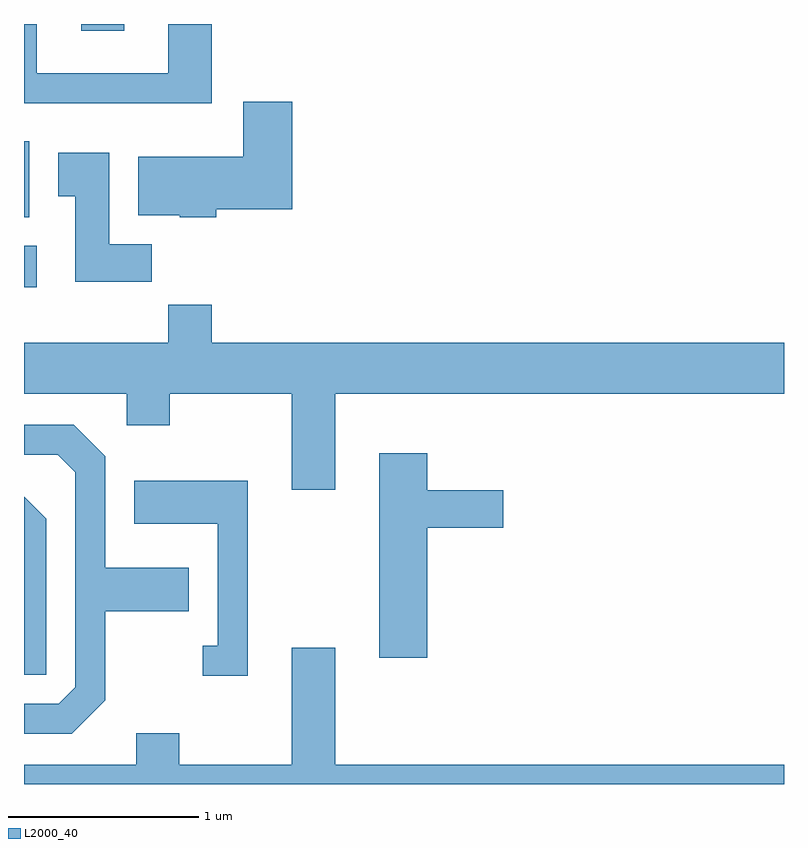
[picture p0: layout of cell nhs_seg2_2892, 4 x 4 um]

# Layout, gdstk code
import gdstk
lib = gdstk.Library(unit=1e-6, precision=1e-09)
def R(c, l, rs):  # rectangles x0, y0, x1, y1
    for r in rs: c.add(gdstk.rectangle(r[:2], r[2:], *l))
def P(c, l, *ps):  # polygons
    for p in ps: c.add(gdstk.Polygon(p, *l))
L2000_40 = (2000, 40)

nhs_seg2_2892 = lib.new_cell('nhs_seg2_2892')
R(nhs_seg2_2892, L2000_40, [(269.611,1064.416,269.679,1064.634), (269.611,1064.786,269.639,1065.184), (269.911,1065.766,270.139,1065.802)])
P(nhs_seg2_2892, L2000_40, [(270.599,1065.802),(270.371,1065.802),(270.371,1065.544),(269.679,1065.544),(269.679,1065.802),(269.611,1065.802),(269.611,1065.386),(270.599,1065.386)],
  [(270.624,1064.826),(271.024,1064.826),(271.024,1065.394),(270.766,1065.394),(270.766,1065.104),(270.211,1065.104),(270.211,1064.796),(270.43,1064.796),(270.43,1064.786),(270.624,1064.786)],
  [(270.284,1064.644),(270.059,1064.644),(270.059,1065.124),(269.791,1065.124),(269.791,1064.896),(269.881,1064.896),(269.881,1064.446),(270.284,1064.446)],
  [(271.249,1063.856),(273.611,1063.856),(273.611,1064.124),(270.599,1064.124),(270.599,1064.324),(270.371,1064.324),(270.371,1064.124),(269.611,1064.124),(269.611,1063.856),(270.151,1063.856),(270.151,1063.691),(270.379,1063.691),(270.379,1063.856),(271.021,1063.856),(271.021,1063.351),(271.249,1063.351)],
  [(270.039,1062.244),(270.039,1062.711),(270.479,1062.711),(270.479,1062.939),(270.039,1062.939),(270.039,1063.527),(269.872,1063.694),(269.611,1063.694),(269.611,1063.536),(269.789,1063.536),(269.881,1063.444),(269.881,1062.312),(269.794,1062.224),(269.611,1062.224),(269.611,1062.066),(269.862,1062.066)],
  [(271.734,1063.151),(272.134,1063.151),(272.134,1063.349),(271.734,1063.349),(271.734,1063.544),(271.481,1063.544),(271.481,1062.466),(271.734,1062.466)],
  [(270.789,1063.399),(270.191,1063.399),(270.191,1063.171),(270.631,1063.171),(270.631,1062.529),(270.553,1062.529),(270.553,1062.371),(270.789,1062.371)],
  [(269.729,1063.197),(269.611,1063.315),(269.611,1062.376),(269.729,1062.376)],
  [(273.611,1061.904),(271.249,1061.904),(271.249,1062.519),(271.021,1062.519),(271.021,1061.904),(270.429,1061.904),(270.429,1062.069),(270.201,1062.069),(270.201,1061.904),(269.611,1061.904),(269.611,1061.802),(273.611,1061.802)])

lib.write_gds('nhs_seg2_2892.gds')
